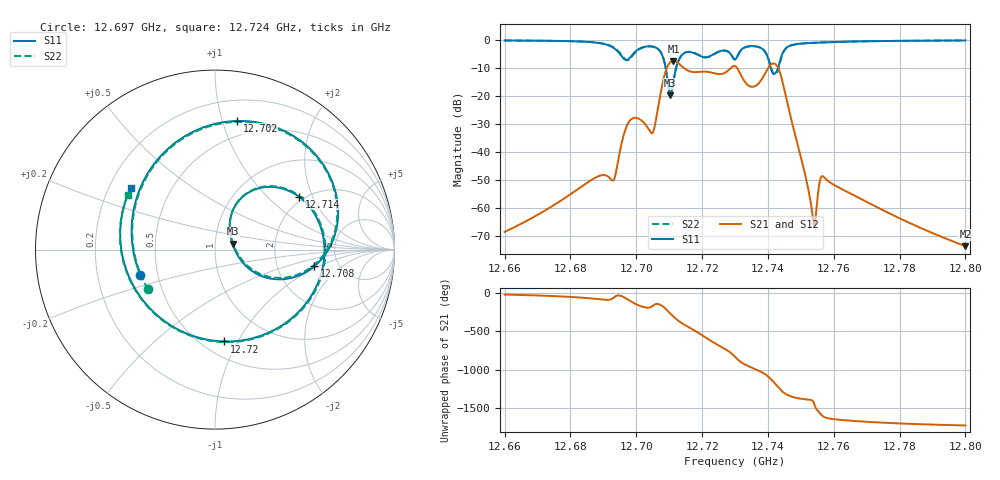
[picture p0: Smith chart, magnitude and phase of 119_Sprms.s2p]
! TOUCHSTONE file generated by CST MICROWAVE STUDIO
! Date and time: Wed Jul 31 16:47:23 2024
! Project name: WaveGuide_BPF-Ver4.1_U-shape_Ku_T3_C4_CWA_2.cst
! Parameters = {cavity_h=16; cavity_l0=10; cavity_l1=15.194; cavity_l2=16.879; cavity_l3=17.1429; cavity_l4=17.2664; cavity_l5=17.1635; cavity_l6=17.57; cavity_r=2.5; cavity_screw_l=0.5; cavity_screw_r=1.5; cavity_w=8; iris_h00=0; iris_h01=8.8125; iris_h112=0; iris_h12=5.6102; iris_h211=3.6591; iris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
! Header version: 2018
! Port assignment regex: !\s*Touchstone port\s*([0-9]+)\s*=\s*(CST MWS port|CST DS port)\s*([0-9]+|Zmin|Zmax)\s*\(\"(.*)\"\)(\s*mode\s*([0-9]+))?.*
! Touchstone port assignment:
! Touchstone port 1 = CST MWS port 1 ("")
! Touchstone port 2 = CST MWS port 2 ("")
# GHz S RI R 50
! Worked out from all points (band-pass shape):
!   5001 points, 12.66 GHz to 12.8 GHz, reference 50 ohm
!   highest |S21| = -7.45 dB at 12.711 GHz (marker M1); lowest = -73.6 dB at 12.8 GHz (marker M2)
!   |S21| within 3 dB of the highest: 12.70913 GHz to 12.715 GHz (5.869 MHz wide, 0.0462 % of centre); 12.73985 GHz to 12.74331 GHz (3.458 MHz wide, 0.0271 % of centre) (the widest 2 of 3)
!   lowest |S11| = -19.7 dB at 12.71 GHz (marker M3), VSWR 1.23, Z = 60.7 + j4.05 ohm
!   |S11| at or under -10 dB: 12.70891 GHz to 12.71211 GHz (3.195 MHz wide, 0.0251 % of centre); 12.7409 GHz to 12.74306 GHz (2.167 MHz wide, 0.017 % of centre)
!   |S22| runs from -19.5 to -0.2 dB; largest |S21 - S12| = 1e-09
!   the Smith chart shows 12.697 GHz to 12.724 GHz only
!   S11 on the Smith chart (normalised r, x): 12.697 GHz: 0.40, -0.14; 12.702 GHz: 0.37, +1.12; 12.708 GHz: 3.28, -0.89; 12.714 GHz: 1.87, +1.59; 12.72 GHz: 0.63, -0.88; 12.724 GHz: 0.29, +0.30
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12.66  0.3138 0.9286  0.000344 -0.000148  0.000344 -0.000148  0.3156 0.9281
12.68335  0.7828 0.5147  0.00109 -0.00216  0.00109 -0.00216  0.78 0.5218
12.69181  0.7645 -0.2101  -2.85e-05 -0.00349  -2.85e-05 -0.00349  0.7847 -0.1778
12.69503  0.1654 -0.5395  0.00823 -0.00621  0.00823 -0.00621  0.2414 -0.5381
12.69727  -0.4163 -0.1413  0.00359 -0.0302  0.00359 -0.0302  -0.3735 -0.2215
12.70155  0.1218 0.7168  -0.0366 -0.002  -0.0366 -0.002  0.082 0.7094
12.70668  0.676 0.1137  -0.0542 -0.0357  -0.0542 -0.0357  0.6747 0.132
12.70774  0.5525 -0.0935  -0.1375 -0.0329  -0.1375 -0.0329  0.5602 -0.0782
12.71034  0.0976 0.033  -0.00206 0.4016  -0.00206 0.4016  0.1023 0.029
12.7113  0.085 0.1678  0.2644 0.3314  0.2644 0.3314  0.0847 0.1655
12.71407  0.4674 0.2949  0.2515 -0.2149  0.2515 -0.2149  0.4658 0.3025
12.7195  0.05 -0.5118  -0.27 -0.017  -0.27 -0.017  0.085 -0.5156
12.72401  -0.4693 0.3423  0.1197 0.2218  0.1197 0.2218  -0.4859 0.3057
12.73  0.209 0.3993  -0.1198 -0.3211  -0.1198 -0.3211  0.1944 0.3999
12.73613  0.767 0.0753  -0.00181 0.1502  -0.00181 0.1502  0.7645 0.0908
12.74042  0.2659 -0.3031  0.3194 -0.1131  0.3194 -0.1131  0.2771 -0.3071
12.74302  0.3105 0.016  -0.2455 -0.215  -0.2455 -0.215  0.2789 0.011
12.74641  0.7011 -0.3368  -0.0155 0.0538  -0.0155 0.0538  0.7061 -0.3097
12.75335  0.1295 -0.8785  0.000646 0.000663  0.000646 0.000663  0.1418 -0.8752
12.75671  -0.1523 -0.8916  -0.0035 -0.00118  -0.0035 -0.00118  -0.1429 -0.8921
12.77668  -0.9158 -0.2891  -0.000301 0.00076  -0.000301 0.00076  -0.9156 -0.2887
12.8  -0.9524 0.2319  3.9e-05 0.000205  3.9e-05 0.000205  -0.9516 0.2351
